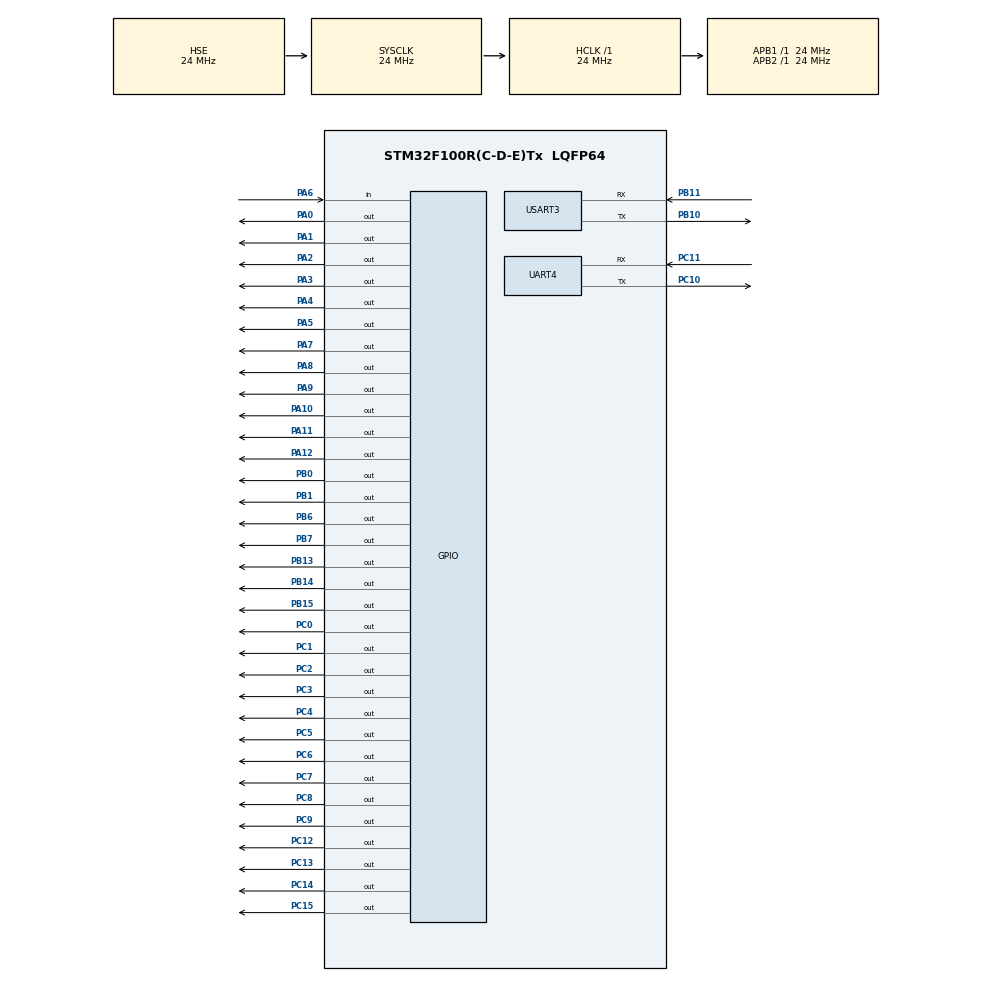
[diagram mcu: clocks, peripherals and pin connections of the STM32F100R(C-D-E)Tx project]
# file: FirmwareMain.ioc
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Mcu.Family=STM32F1
Mcu.Name=STM32F100R(C-D-E)Tx
Mcu.Package=LQFP64
NVIC.PriorityGroup=NVIC_PRIORITYGROUP_4
NVIC.TIM3_IRQn=true\:0\:0\:false\:false\:true\:true
NVIC.TIM6_DAC_IRQn=true\:0\:0\:false\:false\:true\:true
NVIC.UART4_IRQn=true\:0\:0\:false\:false\:true\:true
NVIC.USART3_IRQn=true\:0\:0\:false\:false\:true\:true
PA0-WKUP.Signal=GPIO_Output
PA1.Signal=GPIO_Output
PA10.Signal=GPIO_Output
PA11.Signal=GPIO_Output
PA12.Signal=GPIO_Output
PA2.Signal=GPIO_Output
PA3.Signal=GPIO_Output
PA4.Signal=GPIO_Output
PA5.Signal=GPIO_Output
PA6.Signal=GPIO_Input
PA7.Signal=GPIO_Output
PA8.Signal=GPIO_Output
PA9.Signal=GPIO_Output
PB0.Signal=GPIO_Output
PB1.Signal=GPIO_Output
PB10.Mode=Asynchronous
PB10.Signal=USART3_TX
PB11.Mode=Asynchronous
PB11.Signal=USART3_RX
PB13.Signal=GPIO_Output
PB14.Signal=GPIO_Output
PB15.Signal=GPIO_Output
PB6.Signal=GPIO_Output
PB7.Signal=GPIO_Output
PC0.Signal=GPIO_Output
PC1.Signal=GPIO_Output
PC10.Mode=Asynchronous
PC10.Signal=UART4_TX
PC11.Mode=Asynchronous
PC11.Signal=UART4_RX
PC12.Signal=GPIO_Output
PC13-TAMPER-RTC.Signal=GPIO_Output
PC14-OSC32_IN.Signal=GPIO_Output
PC15-OSC32_OUT.Signal=GPIO_Output
PC2.Signal=GPIO_Output
PC3.Signal=GPIO_Output
PC4.Signal=GPIO_Output
PC5.Signal=GPIO_Output
PC6.Signal=GPIO_Output
PC7.Signal=GPIO_Output
PC8.Signal=GPIO_Output
PC9.Signal=GPIO_Output
PD0-OSC_IN.Mode=HSE-External-Oscillator
PD0-OSC_IN.Signal=RCC_OSC_IN
PD1-OSC_OUT.Mode=HSE-External-Oscillator
PD1-OSC_OUT.Signal=RCC_OSC_OUT
ProjectManager.HeapSize=0x200
ProjectManager.StackSize=0x400
ProjectManager.TargetToolchain=MDK-ARM V5
RCC.AHBFreq_Value=24000000
RCC.APB1Freq_Value=24000000
RCC.APB1TimFreq_Value=24000000
RCC.APB2Freq_Value=24000000
RCC.APB2TimFreq_Value=24000000
RCC.HCLKFreq_Value=24000000
RCC.HSE_VALUE=24000000
RCC.PLLMUL=RCC_PLL_MUL6
RCC.SYSCLKFreq_VALUE=24000000
RCC.SYSCLKSource=RCC_SYSCLKSOURCE_HSE
TIM3.Period=49
TIM3.Prescaler=23
TIM6.Period=49
TIM6.Prescaler=23
UART4.VirtualMode=Asynchronous
USART3.VirtualMode=VM_ASYNC
VP_SYS_VS_ND.Mode=No_Debug
VP_TIM3_VS_ClockSourceINT.Mode=Internal
VP_TIM6_VS_ClockSourceINT.Mode=Enable_Timer
board=FirmwareMain

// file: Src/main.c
/**
  ******************************************************************************
  * File Name          : main.c
  * Description        : Main program body
  ******************************************************************************
  ** This notice applies to any and all portions of this file
  * that are not between comment pairs USER CODE BEGIN and
  * USER CODE END. Other portions of this file, whether
  * inserted by the user or by software development tools
  * are owned by their respective copyright owners.
  *
  * COPYRIGHT(c) 2017 STMicroelectronics
  *
  * Redistribution and use in source and binary forms, with or without modification,
  * are permitted provided that the following conditions are met:
  *   1. Redistributions of source code must retain the above copyright notice,
  *      this list of conditions and the following disclaimer.
  *   2. Redistributions in binary form must reproduce the above copyright notice,
  *      this list of conditions and the following disclaimer in the documentation
  *      and/or other materials provided with the distribution.
  *   3. Neither the name of STMicroelectronics nor the names of its contributors
  *      may be used to endorse or promote products derived from this software
  *      without specific prior written permission.
  *
  * THIS SOFTWARE IS PROVIDED BY THE COPYRIGHT HOLDERS AND CONTRIBUTORS "AS IS"
  * AND ANY EXPRESS OR IMPLIED WARRANTIES, INCLUDING, BUT NOT LIMITED TO, THE
  * IMPLIED WARRANTIES OF MERCHANTABILITY AND FITNESS FOR A PARTICULAR PURPOSE ARE
  * DISCLAIMED. IN NO EVENT SHALL THE COPYRIGHT HOLDER OR CONTRIBUTORS BE LIABLE
  * FOR ANY DIRECT, INDIRECT, INCIDENTAL, SPECIAL, EXEMPLARY, OR CONSEQUENTIAL
  * DAMAGES (INCLUDING, BUT NOT LIMITED TO, PROCUREMENT OF SUBSTITUTE GOODS OR
  * SERVICES; LOSS OF USE, DATA, OR PROFITS; OR BUSINESS INTERRUPTION) HOWEVER
  * CAUSED AND ON ANY THEORY OF LIABILITY, WHETHER IN CONTRACT, STRICT LIABILITY,
  * OR TORT (INCLUDING NEGLIGENCE OR OTHERWISE) ARISING IN ANY WAY OUT OF THE USE
  * OF THIS SOFTWARE, EVEN IF ADVISED OF THE POSSIBILITY OF SUCH DAMAGE.
  *
  ******************************************************************************
  */

#include "main.h"
#include "stm32f1xx_hal.h"

/* USER CODE BEGIN Includes */
#include "stm32f1xx_it.h"
#include "string.h"
#include "stdbool.h"
#include "stdlib.h"
#include "shiftregister.h"
/* USER CODE END Includes */

TIM_HandleTypeDef htim3;
TIM_HandleTypeDef htim6;

UART_HandleTypeDef huart4;
UART_HandleTypeDef huart3;

/* USER CODE BEGIN PV */
/* Private variables ---------------------------------------------------------*/
char buffertx[50];
char bufferrx[8];

//Shifreg stuff
volatile char shift_reg_values[HWADDR_CNT];
volatile unsigned int shift_reg_addr_cnt = 0;

char button_values_copy[HWADDR_CNT];//entspricht button_values mit invertierten Encoder
char fifoout[4];

char ringbuffer[BUFFERSIZE][STRINGLENGTH];//FIFO Ringbuffer
struct Buffer{
	char write;
	char read;
} buffer={0,0};

char singlestrings[BUFFERSIZE];

volatile unsigned int timecount;
volatile unsigned int cnt;
unsigned int cnt2;
unsigned int testcount = 0;

volatile char flag;
volatile char sendflag = 0;

enum select sel = HUE;

/* USER CODE END PV */

void SystemClock_Config(void);
static void MX_GPIO_Init(void);
static void MX_UART4_Init(void);
static void MX_USART3_UART_Init(void);
static void MX_TIM6_Init(void);
static void MX_TIM3_Init(void);

/* USER CODE BEGIN PFP */
/* Private function prototypes -----------------------------------------------*/
void ledpwm(void);
void ledtest(void);
void select(void);
void sendfunction(void);
void incremental_invert(void);

/* USER CODE END PFP */

/* USER CODE BEGIN 0 */
void ledpwm(void){//evt Division entfernen --> weniger Rechenaufwand

	if((timecount<=R_GREEN)&&(R_GREEN!=0)){LED_R_GREEN_SET();}else{LED_R_GREEN_RESET();}
	if((timecount<=G_GREEN)&&(G_GREEN!=0)){LED_G_GREEN_SET();}else{LED_G_GREEN_RESET();}
	if((timecount<=B_GREEN)&&(B_GREEN!=0)){LED_B_GREEN_SET();}else{LED_B_GREEN_RESET();}

	if((timecount<=R_YELLOW)&&(R_YELLOW!=0)){LED_R_YELLOW_SET();}else{LED_R_YELLOW_RESET();}
	if((timecount<=G_YELLOW)&&(G_YELLOW!=0)){LED_G_YELLOW_SET();}else{LED_G_YELLOW_RESET();}
	if((timecount<=B_YELLOW)&&(B_YELLOW!=0)){LED_B_YELLOW_SET();}else{LED_B_YELLOW_RESET();}

	if((timecount<=R_VIOLETT)&&(R_VIOLETT!=0)){LED_R_VIOLETT_SET();}else{LED_R_VIOLETT_RESET();}
	if((timecount<=G_VIOLETT)&&(G_VIOLETT!=0)){LED_G_VIOLETT_SET();}else{LED_G_VIOLETT_RESET();}
	if((timecount<=B_VIOLETT)&&(B_VIOLETT!=0)){LED_B_VIOLETT_SET();}else{LED_B_VIOLETT_RESET();}

	if((timecount<=R_BLUE)&&(R_BLUE!=0)){LED_R_BLUE_SET();}else{LED_R_BLUE_RESET();}
	if((timecount<=G_BLUE)&&(G_BLUE!=0)){LED_G_BLUE_SET();}else{LED_G_BLUE_RESET();}
	if((timecount<=B_BLUE)&&(B_BLUE!=0)){LED_B_BLUE_SET();}else{LED_B_BLUE_RESET();}

	if((timecount<=R_MAGENTA)&&(R_MAGENTA!=0)){LED_R_MAGENTA_SET();}else{LED_R_MAGENTA_RESET();}
//	if((timecount<=G_MAGENTA)&&(G_MAGENTA!=0)){LED_G_MAGENTA_SET();}else{LED_G_MAGENTA_RESET();}
//	if((timecount<=B_MAGENTA)&&(B_MAGENTA!=0)){LED_B_MAGENTA_SET();}else{LED_B_MAGENTA_RESET();}//Fehler wenn dieser Pin HIGH ist. Interrupt funktioniert nicht mehr!

	if((timecount<=R_RED)&&(R_RED!=0)){LED_R_RED_SET();}else{LED_R_RED_RESET();}
	if((timecount<=G_RED)&&(G_RED!=0)){LED_G_RED_SET();}else{LED_G_RED_RESET();}
	if((timecount<=B_RED)&&(B_RED!=0)){LED_B_RED_SET();}else{LED_B_RED_RESET();}

	if((timecount<=R_AQUAMARIN)&&(R_AQUAMARIN!=0)){LED_R_AQUAMARIN_SET();}else{LED_R_AQUAMARIN_RESET();}
	if((timecount<=G_AQUAMARIN)&&(G_AQUAMARIN!=0)){LED_G_AQUAMARIN_SET();}else{LED_G_AQUAMARIN_RESET();}
	if((timecount<=B_AQUAMARIN)&&(B_AQUAMARIN!=0)){LED_B_AQUAMARIN_SET();}else{LED_B_AQUAMARIN_RESET();}

	if((timecount<=R_ORANGE)&&(R_ORANGE!=0)){LED_R_ORANGE_SET();}else{LED_R_ORANGE_RESET();}
	if((timecount<=G_ORANGE)&&(G_ORANGE!=0)){LED_G_ORANGE_SET();}else{LED_G_ORANGE_RESET();}
	if((timecount<=B_ORANGE)&&(B_ORANGE!=0)){LED_B_ORANGE_SET();}else{LED_B_ORANGE_RESET();}
}

void ledtest(void){

	testcount++;
	for(unsigned int i=0; i<400000; i++){
			LED_R_RED_SET();
			LED_R_ORANGE_SET();
			LED_R_YELLOW_SET();
			LED_R_GREEN_SET();
			LED_R_BLUE_SET();
			LED_R_AQUAMARIN_SET();
			LED_R_MAGENTA_SET();
			LED_R_VIOLETT_SET();
			LED_W_DOWN_SET();
	}

	for(unsigned int i=0; i<400000; i++){
			LED_G_RED_SET();
			LED_G_ORANGE_SET();
			LED_G_YELLOW_SET();
			LED_G_GREEN_SET();
			LED_G_BLUE_SET();
			LED_G_AQUAMARIN_SET();
			LED_G_MAGENTA_SET();
			LED_G_VIOLETT_SET();
			LED_W_MIDDLE_SET();
	}

	for(unsigned int i=0; i<400000; i++){
			LED_B_RED_SET();
			LED_B_ORANGE_SET();
			LED_B_YELLOW_SET();
			LED_B_GREEN_SET();
			LED_B_BLUE_SET();
			LED_B_AQUAMARIN_SET();
			LED_B_MAGENTA_SET();
			LED_B_VIOLETT_SET();
			LED_W_UP_SET();
	}
	LED_CLEAR_RESET();
}

void select(void){//Funktion fuer die weissen Select LEDs

	/*switch(sel){ todo
		case HUE:
			if((button_values[BUTTON_SEL_LUM])&&(!button_values[BUTTON_SEL_HUE])&&(!button_values[BUTTON_SEL_SAT]))sel = LUM;
			if((button_values[BUTTON_SEL_SAT])&&(!button_values[BUTTON_SEL_HUE])&&(!button_values[BUTTON_SEL_LUM]))sel = SAT;
			LED_W_UP_SET();
			LED_W_MIDDLE_RESET();
			LED_W_DOWN_RESET();
		break;

		case SAT:
			if((button_values[BUTTON_SEL_HUE])&&(!button_values[BUTTON_SEL_LUM])&&(!button_values[BUTTON_SEL_SAT]))sel = HUE;
			if((button_values[BUTTON_SEL_LUM])&&(!button_values[BUTTON_SEL_HUE])&&(!button_values[BUTTON_SEL_SAT]))sel = LUM;
			LED_W_UP_RESET();
			LED_W_MIDDLE_SET();
			LED_W_DOWN_RESET();
		break;

		case LUM:
			if((button_values[BUTTON_SEL_HUE])&&(!button_values[BUTTON_SEL_LUM])&&(!button_values[BUTTON_SEL_SAT]))sel = HUE;
			if((button_values[BUTTON_SEL_SAT])&&(!button_values[BUTTON_SEL_HUE])&&(!button_values[BUTTON_SEL_LUM]))sel = SAT;
			LED_W_UP_RESET();
			LED_W_MIDDLE_RESET();
			LED_W_DOWN_SET();
		break;
	}*/
}

void endcode_button(char cmd[], unsigned char selected_button)
{
	/*if(button_values_copy[BUTTON_FN]==0) todo
		cmd[0] = 'T'; //grossgeschrieben = Normalmodus
	else
		cmd[0] = 't'; //kleingeschrieben = FN Modus
	*/
	switch(sel)
	{
		case HUE: cmd[1] = 'A'; break;
		case SAT: cmd[1] = 'B'; break;
		case LUM: cmd[1] = 'C'; break;
		default : cmd[1] = '?'; break;
	}
	switch(selected_button)
	{
		//Encoderbuttons
		case BUTTON_CONTRAST		: cmd[2]='0'; cmd[3]='1'; break;
    case BUTTON_SHADOW			: cmd[2]='0'; cmd[3]='2'; break;
    case BUTTON_BLACK				: cmd[2]='0'; cmd[3]='3'; break;
    case BUTTON_WHITE				: cmd[2]='0'; cmd[3]='4'; break;
		case BUTTON_LIGHTS			: cmd[2]='0'; cmd[3]='5'; break;
		case BUTTON_EXPOSURE		: cmd[2]='0'; cmd[3]='6'; break;
		case BUTTON_CLARITY			: cmd[2]='0'; cmd[3]='7'; break;
		case BUTTON_DYNAMIC			: cmd[2]='0'; cmd[3]='8'; break;
	  case BUTTON_ENCSAT			: cmd[2]='0'; cmd[3]='9'; break;

    case BUTTON_RED					: cmd[2]='1'; cmd[3]='0'; break;
    case BUTTON_ORANGE			: cmd[2]='1'; cmd[3]='1'; break;
    case BUTTON_YELLOW			: cmd[2]='1'; cmd[3]='2'; break;
    case BUTTON_GREEN				: cmd[2]='1'; cmd[3]='3'; break;
    case BUTTON_AQUA				: cmd[2]='1'; cmd[3]='4'; break;
    case BUTTON_BLUE				: cmd[2]='1'; cmd[3]='5'; break;
    case BUTTON_PURPLE			: cmd[2]='1'; cmd[3]='6'; break;
    case BUTTON_MAGENTA			: cmd[2]='1'; cmd[3]='7'; break;

		case BUTTON_PROG				: cmd[2]='1'; cmd[3]='8'; break;
    case BUTTON_CROP				: cmd[2]='1'; cmd[3]='9'; break;

		//Buttons
		case BUTTON_UNDO				: cmd[2]='2'; cmd[3]='0'; break;
    case BUTTON_REDO				: cmd[2]='2'; cmd[3]='1'; break;
    case BUTTON_FULL				: cmd[2]='2'; cmd[3]='2'; break;
    case BUTTON_COLOR_BW		: cmd[2]='2'; cmd[3]='3'; break;
    case BUTTON_SEL_HUE			: cmd[2]='2'; cmd[3]='4'; break;
    case BUTTON_SEL_SAT			: cmd[2]='2'; cmd[3]='5'; break;
    case BUTTON_SEL_LUM			: cmd[2]='2'; cmd[3]='6'; break;
    case BUTTON_STAR_1			: cmd[2]='2'; cmd[3]='7'; break;
    case BUTTON_STAR_2			: cmd[2]='2'; cmd[3]='8'; break;
    case BUTTON_STAR_3			: cmd[2]='2'; cmd[3]='9'; break;
    case BUTTON_STAR_4			: cmd[2]='3'; cmd[3]='0'; break;
    case BUTTON_STAR_5			: cmd[2]='3'; cmd[3]='1'; break;
    case BUTTON_COPY				: cmd[2]='3'; cmd[3]='2'; break;
    case BUTTON_PASTE				: cmd[2]='3'; cmd[3]='3'; break;
    case BUTTON_FN					: cmd[2]='3'; cmd[3]='4'; break;
    case BUTTON_PICK				: cmd[2]='3'; cmd[3]='5'; break;
    case BUTTON_ZOOM				: cmd[2]='3'; cmd[3]='6'; break;
		case BUTTON_RIGHT				: cmd[2]='3'; cmd[3]='7'; break;
		case BUTTON_LEFT      	: cmd[2]='3'; cmd[3]='8'; break;
		case BUTTON_UP					: cmd[2]='3'; cmd[3]='9'; break;
		case BUTTON_DOWN				: cmd[2]='4'; cmd[3]='0'; break;
		case BUTTON_BEFOREAFTER	: cmd[2]='4'; cmd[3]='1'; break;
    case BUTTON_DEVELOP			: cmd[2]='4'; cmd[3]='2'; break;

		default 								: cmd[2]='?'; cmd[3]='?'; break;
	}
}

char fifoput(char* inputencode){

	if ((buffer.write + 1 == buffer.read)||(buffer.read == 0 && buffer.write + 1 == BUFFERSIZE))return 0;
	if(buffer.write >= BUFFERSIZE)buffer.write = 0;

	ringbuffer[buffer.write][0] = inputencode[0];
	ringbuffer[buffer.write][1] = inputencode[1];
	ringbuffer[buffer.write][2] = inputencode[2];
	ringbuffer[buffer.write][3] = inputencode[3];
	buffer.write++;

	return 1;
}

char fifoget(char* fifoout){//0 invalid, 1 valid

	if (buffer.read == buffer.write)return 0;

	fifoout[0] = ringbuffer[buffer.read][0];
	fifoout[1] = ringbuffer[buffer.read][1];
	fifoout[2] = ringbuffer[buffer.read][2];
	fifoout[3] = ringbuffer[buffer.read][3];
	buffer.read++;
	if(buffer.read >= BUFFERSIZE)buffer.read = 0;

	return 1;
}

void sendfunction(void){

		for(unsigned char i =0; i<48; i++)
		{
			if(button_values_copy[i] > 0) //Taste ist gedrückt
			{
				char cmd[4];
				endcode_button(cmd, i); 	//Taste Nr i decodieren
				fifoput(cmd);				//Decodierter Wert in Fifo buffer ablegen
			}
		}

	if(fifoget(fifoout)){
		strcpy(buffertx,"");
		strncat(buffertx, fifoout, 4);
		HAL_UART_Transmit_IT(&huart4, (uint8_t *)buffertx, 8);
	}
}

/* USER CODE END 0 */

int main(void)
{

  /* MCU Configuration----------------------------------------------------------*/

  /* Reset of all peripherals, Initializes the Flash interface and the Systick. */
  HAL_Init();

  /* Configure the system clock */
  SystemClock_Config();

  /* Initialize all configured peripherals */
  MX_GPIO_Init();
  MX_UART4_Init();
  MX_USART3_UART_Init();
  MX_TIM6_Init();
  MX_TIM3_Init();

  /* USER CODE BEGIN 2 */
	//__HAL_UART_ENABLE_IT(&huart4, UART_IT_TC);
//	__HAL_UART_ENABLE_IT(&huart4, UART_IT_RXNE);
	HAL_TIM_Base_Start_IT(&htim3);
	HAL_TIM_Base_Start_IT(&htim6);
  /* USER CODE END 2 */

  /* Infinite loop */
  /* USER CODE BEGIN WHILE */
  while (1)//===========================================WHILE========================================================
  {
		HAL_TIM_Base_Stop_IT(&htim3);
		for(int i=0; i<HWADDR_CNT; i++)
		{
			//button_values_copy[i] = button_values[i]; todo
		}
		HAL_TIM_Base_Start_IT(&htim3);

		LED_CLEAR_SET();
		ledpwm();
		select();
		sendfunction();
	/*	if(cnt2>500){//sendfunction evt in timerinterupt oder doch UART IR
		sendfunction();
			cnt2 = 0;
		}
		cnt2++;*/

  /* USER CODE END WHILE */

  }

}

/** System Clock Configuration
*/
void SystemClock_Config(void)
{

  RCC_OscInitTypeDef RCC_OscInitStruct;
  RCC_ClkInitTypeDef RCC_ClkInitStruct;

    /**Initializes the CPU, AHB and APB busses clocks
    */
  RCC_OscInitStruct.OscillatorType = RCC_OSCILLATORTYPE_HSE;
  RCC_OscInitStruct.HSEState = RCC_HSE_ON;
  RCC_OscInitStruct.PLL.PLLState = RCC_PLL_NONE;
  if (HAL_RCC_OscConfig(&RCC_OscInitStruct) != HAL_OK)
  {
    _Error_Handler(__FILE__, __LINE__);
  }

    /**Initializes the CPU, AHB and APB busses clocks
    */
  RCC_ClkInitStruct.ClockType = RCC_CLOCKTYPE_HCLK|RCC_CLOCKTYPE_SYSCLK
                              |RCC_CLOCKTYPE_PCLK1|RCC_CLOCKTYPE_PCLK2;
  RCC_ClkInitStruct.SYSCLKSource = RCC_SYSCLKSOURCE_HSE;
  RCC_ClkInitStruct.AHBCLKDivider = RCC_SYSCLK_DIV1;
  RCC_ClkInitStruct.APB1CLKDivider = RCC_HCLK_DIV1;
  RCC_ClkInitStruct.APB2CLKDivider = RCC_HCLK_DIV1;

  if (HAL_RCC_ClockConfig(&RCC_ClkInitStruct, FLASH_LATENCY_0) != HAL_OK)
  {
    _Error_Handler(__FILE__, __LINE__);
  }

    /**Configure the Systick interrupt time
    */
  HAL_SYSTICK_Config(HAL_RCC_GetHCLKFreq()/1000);

    /**Configure the Systick
    */
  HAL_SYSTICK_CLKSourceConfig(SYSTICK_CLKSOURCE_HCLK);

  /* SysTick_IRQn interrupt configuration */
  HAL_NVIC_SetPriority(SysTick_IRQn, 0, 0);
}

/* TIM3 init function */
static void MX_TIM3_Init(void)
{

  TIM_ClockConfigTypeDef sClockSourceConfig;
  TIM_MasterConfigTypeDef sMasterConfig;

  htim3.Instance = TIM3;
  htim3.Init.Prescaler = 23;
  htim3.Init.CounterMode = TIM_COUNTERMODE_UP;
  htim3.Init.Period = 49;
  htim3.Init.ClockDivision = TIM_CLOCKDIVISION_DIV1;
  htim3.Init.AutoReloadPreload = TIM_AUTORELOAD_PRELOAD_DISABLE;
  if (HAL_TIM_Base_Init(&htim3) != HAL_OK)
  {
    _Error_Handler(__FILE__, __LINE__);
  }

  sClockSourceConfig.ClockSource = TIM_CLOCKSOURCE_INTERNAL;
  if (HAL_TIM_ConfigClockSource(&htim3, &sClockSourceConfig) != HAL_OK)
  {
    _Error_Handler(__FILE__, __LINE__);
  }

  sMasterConfig.MasterOutputTrigger = TIM_TRGO_RESET;
  sMasterConfig.MasterSlaveMode = TIM_MASTERSLAVEMODE_DISABLE;
  if (HAL_TIMEx_MasterConfigSynchronization(&htim3, &sMasterConfig) != HAL_OK)
  {
    _Error_Handler(__FILE__, __LINE__);
  }

}

/* TIM6 init function */
static void MX_TIM6_Init(void)
{

  TIM_MasterConfigTypeDef sMasterConfig;

  htim6.Instance = TIM6;
  htim6.Init.Prescaler = 23;
  htim6.Init.CounterMode = TIM_COUNTERMODE_UP;
  htim6.Init.Period = 49;
  htim6.Init.AutoReloadPreload = TIM_AUTORELOAD_PRELOAD_DISABLE;
  if (HAL_TIM_Base_Init(&htim6) != HAL_OK)
  {
    _Error_Handler(__FILE__, __LINE__);
  }

  sMasterConfig.MasterOutputTrigger = TIM_TRGO_RESET;
  sMasterConfig.MasterSlaveMode = TIM_MASTERSLAVEMODE_DISABLE;
  if (HAL_TIMEx_MasterConfigSynchronization(&htim6, &sMasterConfig) != HAL_OK)
  {
    _Error_Handler(__FILE__, __LINE__);
  }

}

/* UART4 init function */
static void MX_UART4_Init(void)
{

  huart4.Instance = UART4;
  huart4.Init.BaudRate = 115200;
  huart4.Init.WordLength = UART_WORDLENGTH_8B;
  huart4.Init.StopBits = UART_STOPBITS_1;
  huart4.Init.Parity = UART_PARITY_NONE;
  huart4.Init.Mode = UART_MODE_TX_RX;
  huart4.Init.HwFlowCtl = UART_HWCONTROL_NONE;
  huart4.Init.OverSampling = UART_OVERSAMPLING_16;
  if (HAL_UART_Init(&huart4) != HAL_OK)
  {
    _Error_Handler(__FILE__, __LINE__);
  }

}

/* USART3 init function */
static void MX_USART3_UART_Init(void)
{

  huart3.Instance = USART3;
  huart3.Init.BaudRate = 115200;
  huart3.Init.WordLength = UART_WORDLENGTH_8B;
  huart3.Init.StopBits = UART_STOPBITS_1;
  huart3.Init.Parity = UART_PARITY_NONE;
  huart3.Init.Mode = UART_MODE_TX_RX;
  huart3.Init.HwFlowCtl = UART_HWCONTROL_NONE;
  huart3.Init.OverSampling = UART_OVERSAMPLING_16;
  if (HAL_UART_Init(&huart3) != HAL_OK)
  {
    _Error_Handler(__FILE__, __LINE__);
  }

}

/** Configure pins as
        * Analog
        * Input
        * Output
        * EVENT_OUT
        * EXTI
*/
static void MX_GPIO_Init(void)
{

  GPIO_InitTypeDef GPIO_InitStruct;

  /* GPIO Ports Clock Enable */
  __HAL_RCC_GPIOC_CLK_ENABLE();
  __HAL_RCC_GPIOD_CLK_ENABLE();
  __HAL_RCC_GPIOA_CLK_ENABLE();
  __HAL_RCC_GPIOB_CLK_ENABLE();

  /*Configure GPIO pin Output Level */
  HAL_GPIO_WritePin(GPIOC, GPIO_PIN_13|GPIO_PIN_14|GPIO_PIN_15|GPIO_PIN_0
                          |GPIO_PIN_1|GPIO_PIN_2|GPIO_PIN_3|GPIO_PIN_4
                          |GPIO_PIN_5|GPIO_PIN_6|GPIO_PIN_7|GPIO_PIN_8
                          |GPIO_PIN_9|GPIO_PIN_12, GPIO_PIN_RESET);

  /*Configure GPIO pin Output Level */
  HAL_GPIO_WritePin(GPIOA, GPIO_PIN_0|GPIO_PIN_1|GPIO_PIN_2|GPIO_PIN_3
                          |GPIO_PIN_4|GPIO_PIN_5|GPIO_PIN_7|GPIO_PIN_8
                          |GPIO_PIN_9|GPIO_PIN_10|GPIO_PIN_11|GPIO_PIN_12, GPIO_PIN_RESET);

  /*Configure GPIO pin Output Level */
  HAL_GPIO_WritePin(GPIOB, GPIO_PIN_0|GPIO_PIN_1|GPIO_PIN_13|GPIO_PIN_14
                          |GPIO_PIN_15|GPIO_PIN_6|GPIO_PIN_7, GPIO_PIN_RESET);

  /*Configure GPIO pins : PC13 PC14 PC15 PC0
                           PC1 PC2 PC3 PC4
                           PC5 PC6 PC7 PC8
                           PC9 PC12 */
  GPIO_InitStruct.Pin = GPIO_PIN_13|GPIO_PIN_14|GPIO_PIN_15|GPIO_PIN_0
                          |GPIO_PIN_1|GPIO_PIN_2|GPIO_PIN_3|GPIO_PIN_4
                          |GPIO_PIN_5|GPIO_PIN_6|GPIO_PIN_7|GPIO_PIN_8
                          |GPIO_PIN_9|GPIO_PIN_12;
  GPIO_InitStruct.Mode = GPIO_MODE_OUTPUT_PP;
  GPIO_InitStruct.Speed = GPIO_SPEED_FREQ_LOW;
  HAL_GPIO_Init(GPIOC, &GPIO_InitStruct);

  /*Configure GPIO pins : PA0 PA1 PA2 PA3
                           PA4 PA5 PA7 PA8
                           PA9 PA10 PA11 PA12 */
  GPIO_InitStruct.Pin = GPIO_PIN_0|GPIO_PIN_1|GPIO_PIN_2|GPIO_PIN_3
                          |GPIO_PIN_4|GPIO_PIN_5|GPIO_PIN_7|GPIO_PIN_8
                          |GPIO_PIN_9|GPIO_PIN_10|GPIO_PIN_11|GPIO_PIN_12;
  GPIO_InitStruct.Mode = GPIO_MODE_OUTPUT_PP;
  GPIO_InitStruct.Speed = GPIO_SPEED_FREQ_LOW;
  HAL_GPIO_Init(GPIOA, &GPIO_InitStruct);

  /*Configure GPIO pin : PA6 */
  GPIO_InitStruct.Pin = GPIO_PIN_6;
  GPIO_InitStruct.Mode = GPIO_MODE_INPUT;
  GPIO_InitStruct.Pull = GPIO_NOPULL;
  HAL_GPIO_Init(GPIOA, &GPIO_InitStruct);

  /*Configure GPIO pins : PB0 PB1 PB13 PB14
                           PB15 PB6 PB7 */
  GPIO_InitStruct.Pin = GPIO_PIN_0|GPIO_PIN_1|GPIO_PIN_13|GPIO_PIN_14
                          |GPIO_PIN_15|GPIO_PIN_6|GPIO_PIN_7;
  GPIO_InitStruct.Mode = GPIO_MODE_OUTPUT_PP;
  GPIO_InitStruct.Speed = GPIO_SPEED_FREQ_LOW;
  HAL_GPIO_Init(GPIOB, &GPIO_InitStruct);

}

void _Error_Handler(char * file, int line)
{
  while(1)
  {
  }
}

/************************ (C) COPYRIGHT STMicroelectronics *****END OF FILE****/
